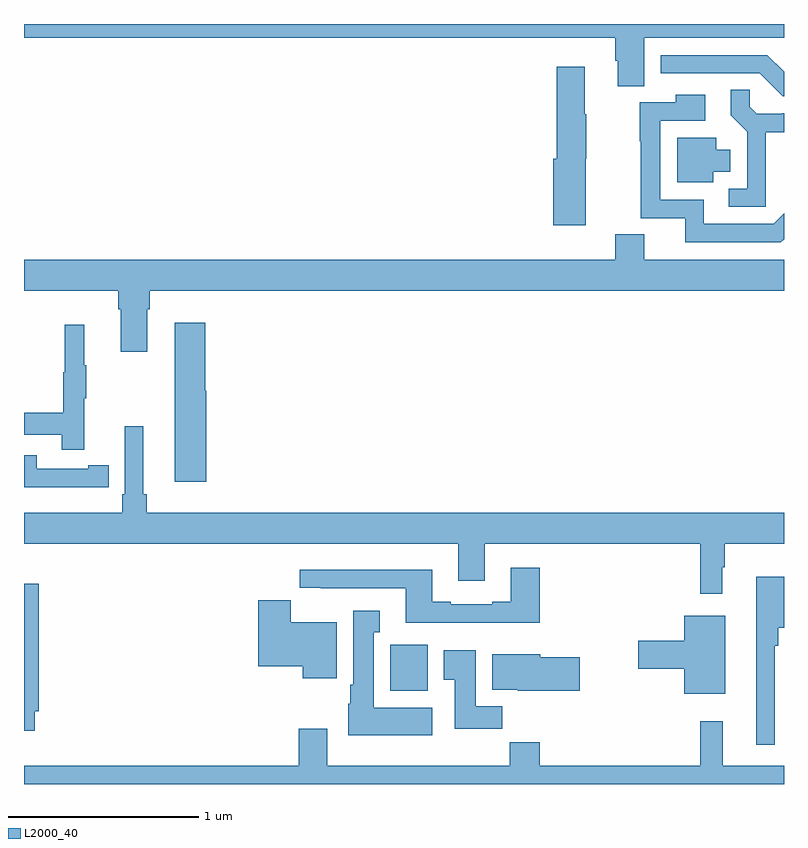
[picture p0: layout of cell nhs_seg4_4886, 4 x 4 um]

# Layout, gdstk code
import gdstk
lib = gdstk.Library(unit=1e-6, precision=1e-09)
def R(c, l, rs):  # rectangles x0, y0, x1, y1
    for r in rs: c.add(gdstk.rectangle(r[:2], r[2:], *l))
def P(c, l, *ps):  # polygons
    for p in ps: c.add(gdstk.Polygon(p, *l))
L2000_40 = (2000, 40)

nhs_seg4_4886 = lib.new_cell('nhs_seg4_4886')
R(nhs_seg4_4886, L2000_40, [(376.928,785.39,377.125,785.632)])
P(nhs_seg4_4886, L2000_40, [(378.265,788.828),(379,788.828),(379,788.9),(375,788.9),(375,788.828),(378.113,788.828),(378.113,788.706),(378.125,788.706),(378.125,788.572),(378.265,788.572)],
  [(379,788.648),(378.912,788.736),(378.35,788.736),(378.35,788.64),(378.873,788.64),(378.993,788.52),(379,788.52)],
  [(377.956,788.19),(377.958,788.19),(377.958,788.426),(377.95,788.426),(377.95,788.674),(377.804,788.674),(377.804,788.19),(377.786,788.19),(377.786,787.842),(377.956,787.842)],
  [(378.905,788.33),(379,788.33),(379,788.43),(378.99,788.43),(378.99,788.427),(378.856,788.427),(378.819,788.464),(378.819,788.555),(378.721,788.555),(378.721,788.419),(378.807,788.333),(378.807,788.034),(378.708,788.034),(378.708,787.938),(378.905,787.938)],
  [(379,787.768),(379,787.903),(378.945,787.848),(378.577,787.848),(378.577,787.974),(378.348,787.974),(378.348,788.391),(378.586,788.391),(378.586,788.527),(378.43,788.527),(378.43,788.487),(378.24,788.487),(378.24,788.284),(378.247,788.284),(378.247,787.878),(378.479,787.878),(378.479,787.752),(378.984,787.752)],
  [(378.628,788.123),(378.718,788.123),(378.718,788.239),(378.643,788.239),(378.643,788.302),(378.437,788.302),(378.437,788.066),(378.628,788.066)],
  [(375.649,787.4),(375.662,787.4),(375.662,787.496),(379,787.496),(379,787.66),(378.265,787.66),(378.265,787.793),(378.113,787.793),(378.113,787.66),(375,787.66),(375,787.496),(375.497,787.496),(375.497,787.4),(375.509,787.4),(375.509,787.176),(375.649,787.176)],
  [(375.958,786.969),(375.953,786.969),(375.953,787.327),(375.794,787.327),(375.794,786.492),(375.958,786.492)],
  [(375.317,786.931),(375.328,786.931),(375.328,787.105),(375.317,787.105),(375.317,787.318),(375.214,787.318),(375.214,787.068),(375.207,787.068),(375.207,786.854),(375,786.854),(375,786.738),(375.199,786.738),(375.199,786.66),(375.317,786.66)],
  [(378.676,786.041),(378.688,786.041),(378.688,786.164),(379,786.164),(379,786.328),(375.647,786.328),(375.647,786.424),(375.628,786.424),(375.628,786.784),(375.531,786.784),(375.531,786.424),(375.518,786.424),(375.518,786.328),(375,786.328),(375,786.164),(377.285,786.164),(377.285,785.97),(377.425,785.97),(377.425,786.164),(378.559,786.164),(378.559,785.901),(378.676,785.901)],
  [(375.338,786.462),(375.446,786.462),(375.446,786.578),(375.338,786.578),(375.338,786.558),(375.066,786.558),(375.066,786.63),(375,786.63),(375,786.461),(375.338,786.461)],
  [(377.714,786.037),(377.561,786.037),(377.561,785.86),(377.465,785.86),(377.465,785.847),(377.245,785.847),(377.245,785.86),(377.149,785.86),(377.149,786.028),(376.452,786.028),(376.452,785.933),(376.561,785.933),(376.561,785.931),(377.009,785.931),(377.009,785.75),(377.714,785.75)],
  [(378.951,785.627),(378.971,785.627),(378.971,785.723),(379,785.723),(379,785.992),(378.854,785.992),(378.854,785.106),(378.951,785.106)],
  [(375.057,785.284),(375.077,785.284),(375.077,785.953),(375,785.953),(375,785.18),(375.057,785.18)],
  [(376.645,785.752),(376.405,785.752),(376.405,785.868),(376.232,785.868),(376.232,785.519),(376.466,785.519),(376.466,785.456),(376.645,785.456)],
  [(377.149,785.302),(376.84,785.302),(376.84,785.699),(376.873,785.699),(376.873,785.812),(376.733,785.812),(376.733,785.422),(376.718,785.422),(376.718,785.322),(376.706,785.322),(376.706,785.156),(377.149,785.156)],
  [(378.691,785.785),(378.476,785.785),(378.476,785.654),(378.234,785.654),(378.234,785.507),(378.476,785.507),(378.476,785.375),(378.691,785.375)],
  [(377.516,785.308),(377.377,785.308),(377.377,785.605),(377.21,785.605),(377.21,785.449),(377.267,785.449),(377.267,785.19),(377.516,785.19)],
  [(377.926,785.567),(377.716,785.567),(377.716,785.584),(377.465,785.584),(377.465,785.396),(377.598,785.396),(377.598,785.39),(377.926,785.39)],
  [(379,784.996),(378.677,784.996),(378.677,785.23),(378.559,785.23),(378.559,784.996),(377.714,784.996),(377.714,785.12),(377.557,785.12),(377.557,784.996),(376.597,784.996),(376.597,785.191),(376.445,785.191),(376.445,784.996),(375,784.996),(375,784.9),(379,784.9)])

lib.write_gds('nhs_seg4_4886.gds')
